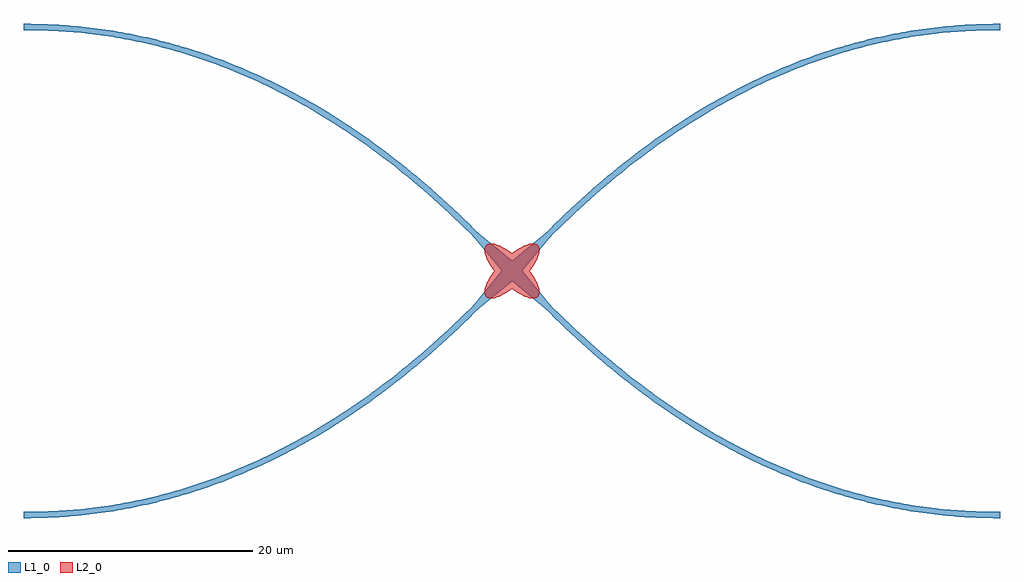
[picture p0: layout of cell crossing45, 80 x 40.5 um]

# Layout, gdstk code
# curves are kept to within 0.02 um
import gdstk
lib = gdstk.Library(unit=1e-6, precision=1e-09)
def P(c, l, *ps):  # polygons
    for p in ps: c.add(gdstk.Polygon(p, *l))
L1_0 = (1, 0)
L2_0 = (2, 0)

crossing45 = lib.new_cell('crossing45')
P(crossing45, L1_0, [(-3.005,-2.652),(-0.849,0),(0,0.849),(2.652,3.005),(3.005,2.652),(0.849,0),(0,-0.849),(-2.652,-3.005)],
  [(2.652,-3.005),(0,-0.849),(-0.849,0),(-3.005,2.652),(-2.652,3.005),(0,0.849),(0.849,0),(3.005,-2.652)],
  [(2.652,3.005),(4.815,5.104),(6.965,7.032),(9.098,8.796),(11.21,10.401),(13.299,11.857),(15.772,13.413),(18.204,14.774),(20.588,15.952),(22.922,16.957),(25.199,17.803),(27.779,18.603),(30.267,19.221),(32.658,19.675),(35.259,20.018),(37.71,20.2),(40,20.25),(40,19.75),(38.603,19.733),(37.142,19.669),(35.621,19.551),(34.362,19.413),(33.067,19.233),(31.737,19.007),(30.374,18.732),(28.979,18.404),(26.83,17.805),(24.99,17.201),(23.108,16.493),(20.798,15.498),(18.833,14.538),(16.835,13.454),(14.807,12.237),(12.75,10.881),(10.249,9.06),(8.986,8.067),(7.716,7.016),(5.156,4.738),(3.005,2.652)],
  [(2.652,-3.005),(4.815,-5.104),(6.965,-7.032),(9.098,-8.796),(11.21,-10.401),(13.299,-11.857),(15.772,-13.413),(18.204,-14.774),(20.588,-15.952),(22.922,-16.957),(25.199,-17.803),(27.779,-18.603),(30.267,-19.221),(32.658,-19.675),(35.259,-20.018),(37.71,-20.2),(40,-20.25),(40,-19.75),(38.603,-19.733),(37.142,-19.669),(35.621,-19.551),(34.362,-19.413),(33.067,-19.233),(31.737,-19.007),(30.374,-18.732),(28.979,-18.404),(26.83,-17.805),(24.99,-17.201),(23.108,-16.493),(20.798,-15.498),(18.833,-14.538),(16.835,-13.454),(14.807,-12.237),(12.75,-10.881),(10.249,-9.06),(8.986,-8.067),(7.716,-7.016),(5.156,-4.738),(3.005,-2.652)],
  [(-2.652,3.005),(-4.815,5.104),(-6.965,7.032),(-9.098,8.796),(-11.21,10.401),(-13.299,11.857),(-15.772,13.413),(-18.204,14.774),(-20.588,15.952),(-22.922,16.957),(-25.199,17.803),(-27.779,18.603),(-30.267,19.221),(-32.658,19.675),(-35.259,20.018),(-37.71,20.2),(-40,20.25),(-40,19.75),(-38.603,19.733),(-37.142,19.669),(-35.621,19.551),(-34.362,19.413),(-33.067,19.233),(-31.737,19.007),(-30.374,18.732),(-28.979,18.404),(-26.83,17.805),(-24.99,17.201),(-23.108,16.493),(-20.798,15.498),(-18.833,14.538),(-16.835,13.454),(-14.807,12.237),(-12.75,10.881),(-10.249,9.06),(-8.986,8.067),(-7.716,7.016),(-5.156,4.738),(-3.005,2.652)],
  [(-2.652,-3.005),(-4.815,-5.104),(-6.965,-7.032),(-9.098,-8.796),(-11.21,-10.401),(-13.299,-11.857),(-15.772,-13.413),(-18.204,-14.774),(-20.588,-15.952),(-22.922,-16.957),(-25.199,-17.803),(-27.779,-18.603),(-30.267,-19.221),(-32.658,-19.675),(-35.259,-20.018),(-37.71,-20.2),(-40,-20.25),(-40,-19.75),(-38.603,-19.733),(-37.142,-19.669),(-35.621,-19.551),(-34.362,-19.413),(-33.067,-19.233),(-31.737,-19.007),(-30.374,-18.732),(-28.979,-18.404),(-26.83,-17.805),(-24.99,-17.201),(-23.108,-16.493),(-20.798,-15.498),(-18.833,-14.538),(-16.835,-13.454),(-14.807,-12.237),(-12.75,-10.881),(-10.249,-9.06),(-8.986,-8.067),(-7.716,-7.016),(-5.156,-4.738),(-3.005,-2.652)])
P(crossing45, L2_0, [(2.121,2.121),(2.014,2.198),(1.734,2.259),(1.413,2.218),(0.958,2.053),(0.586,1.857),(0.137,1.562),(-0.322,1.2),(-0.744,0.812),(-1.162,0.366),(-1.51,-0.066),(-1.794,-0.481),(-2.053,-0.958),(-2.218,-1.413),(-2.259,-1.734),(-2.198,-2.014),(-2.121,-2.121),(-2.014,-2.198),(-1.734,-2.259),(-1.413,-2.218),(-0.958,-2.053),(-0.586,-1.857),(-0.137,-1.562),(0.322,-1.2),(0.744,-0.812),(1.162,-0.366),(1.51,0.066),(1.794,0.481),(2.053,0.958),(2.218,1.413),(2.259,1.734),(2.198,2.014)],
  [(-2.121,2.121),(-2.198,2.014),(-2.259,1.734),(-2.218,1.413),(-2.053,0.958),(-1.857,0.586),(-1.562,0.137),(-1.2,-0.322),(-0.812,-0.744),(-0.366,-1.162),(0.066,-1.51),(0.481,-1.794),(0.958,-2.053),(1.413,-2.218),(1.734,-2.259),(2.014,-2.198),(2.121,-2.121),(2.198,-2.014),(2.259,-1.734),(2.218,-1.413),(2.053,-0.958),(1.857,-0.586),(1.562,-0.137),(1.2,0.322),(0.812,0.744),(0.366,1.162),(-0.066,1.51),(-0.481,1.794),(-0.958,2.053),(-1.413,2.218),(-1.734,2.259),(-2.014,2.198)])

lib.write_gds('crossing45.gds')
